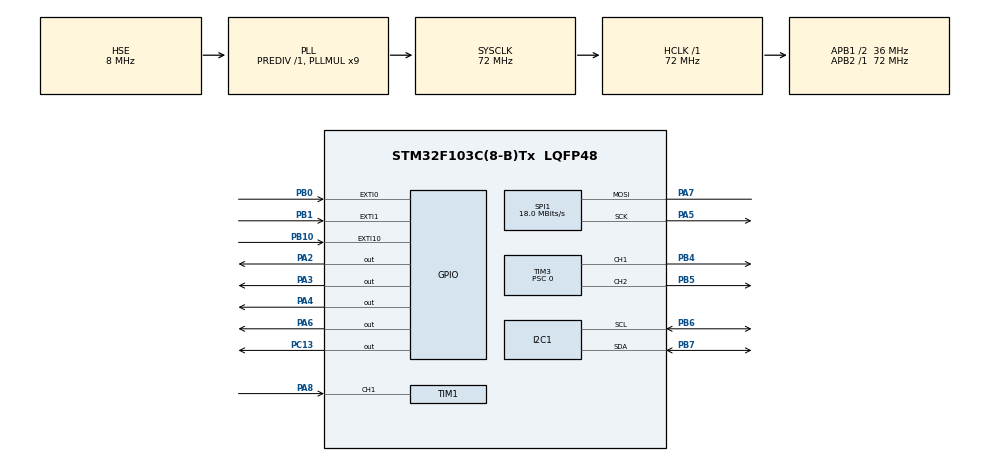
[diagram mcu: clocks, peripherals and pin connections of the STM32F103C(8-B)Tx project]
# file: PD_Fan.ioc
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Mcu.Family=STM32F1
Mcu.Name=STM32F103C(8-B)Tx
Mcu.Package=LQFP48
NVIC.EXTI0_IRQn=true\:2\:0\:true\:false\:true\:true\:true\:true
NVIC.EXTI15_10_IRQn=true\:2\:0\:true\:false\:true\:true\:true\:true
NVIC.EXTI1_IRQn=true\:2\:0\:true\:false\:true\:true\:true\:true
NVIC.PriorityGroup=NVIC_PRIORITYGROUP_4
NVIC.SPI1_IRQn=true\:2\:0\:true\:false\:true\:true\:true\:true
NVIC.TIM1_CC_IRQn=true\:2\:0\:true\:false\:true\:true\:true\:true
NVIC.TIM1_UP_IRQn=true\:4\:0\:true\:false\:true\:true\:true\:true
NVIC.TIM2_IRQn=true\:2\:0\:true\:false\:true\:true\:true\:true
NVIC.TIM4_IRQn=true\:6\:0\:true\:false\:true\:true\:true\:true
PA13.Mode=Serial_Wire
PA13.Signal=SYS_JTMS-SWDIO
PA14.Mode=Serial_Wire
PA14.Signal=SYS_JTCK-SWCLK
PA2.Signal=GPIO_Output
PA3.Signal=GPIO_Output
PA4.Signal=GPIO_Output
PA5.Mode=Simplex_Bidirectional_Master
PA5.Signal=SPI1_SCK
PA6.Signal=GPIO_Output
PA7.Mode=Simplex_Bidirectional_Master
PA7.Signal=SPI1_MOSI
PA8.GPIO_PuPd=GPIO_PULLUP
PA8.Signal=S_TIM1_CH1
PB0.GPIO_ModeDefaultEXTI=GPIO_MODE_IT_FALLING
PB0.GPIO_PuPd=GPIO_PULLUP
PB0.Signal=GPXTI0
PB1.GPIO_ModeDefaultEXTI=GPIO_MODE_IT_FALLING
PB1.GPIO_PuPd=GPIO_PULLUP
PB1.Signal=GPXTI1
PB10.GPIO_ModeDefaultEXTI=GPIO_MODE_IT_FALLING
PB10.GPIO_PuPd=GPIO_PULLUP
PB10.Signal=GPXTI10
PB4.Signal=S_TIM3_CH1
PB5.Signal=S_TIM3_CH2
PB6.Mode=I2C
PB6.Signal=I2C1_SCL
PB7.Mode=I2C
PB7.Signal=I2C1_SDA
PC13-TAMPER-RTC.Signal=GPIO_Output
PD0-OSC_IN.Mode=HSE-External-Oscillator
PD0-OSC_IN.Signal=RCC_OSC_IN
PD1-OSC_OUT.Mode=HSE-External-Oscillator
PD1-OSC_OUT.Signal=RCC_OSC_OUT
ProjectManager.HeapSize=0x200
ProjectManager.StackSize=0x400
ProjectManager.TargetToolchain=MDK-ARM V5.32
RCC.ADCPresc=RCC_ADCPCLK2_DIV6
RCC.AHBFreq_Value=72000000
RCC.APB1CLKDivider=RCC_HCLK_DIV2
RCC.APB1Freq_Value=36000000
RCC.APB1TimFreq_Value=72000000
RCC.APB2Freq_Value=72000000
RCC.APB2TimFreq_Value=72000000
RCC.HCLKFreq_Value=72000000
RCC.PLLMUL=RCC_PLL_MUL9
RCC.PLLSourceVirtual=RCC_PLLSOURCE_HSE
RCC.SYSCLKFreq_VALUE=72000000
RCC.SYSCLKSource=RCC_SYSCLKSOURCE_PLLCLK
RCC.USBFreq_Value=72000000
SH.S_TIM1_CH1.0=TIM1_CH1,Input_Capture1_from_TI1
SH.S_TIM3_CH1.0=TIM3_CH1,PWM Generation1 CH1
SH.S_TIM3_CH2.0=TIM3_CH2,PWM Generation2 CH2
SPI1.BaudRatePrescaler=SPI_BAUDRATEPRESCALER_4
SPI1.CalculateBaudRate=18.0 MBits/s
SPI1.Direction=SPI_DIRECTION_1LINE
SPI1.Mode=SPI_MODE_MASTER
SPI1.VirtualType=VM_MASTER
TIM1.AutoReloadPreload=TIM_AUTORELOAD_PRELOAD_ENABLE
TIM1.Channel-Input_Capture1_from_TI1=TIM_CHANNEL_1
TIM1.Prescaler=720 - 1
TIM2.AutoReloadPreload=TIM_AUTORELOAD_PRELOAD_DISABLE
TIM2.Prescaler=7200 - 1
TIM3.AutoReloadPreload=TIM_AUTORELOAD_PRELOAD_ENABLE
TIM3.Channel-PWM\ Generation1\ CH1=TIM_CHANNEL_1
TIM3.Channel-PWM\ Generation2\ CH2=TIM_CHANNEL_2
TIM3.Period=2880 - 1
TIM3.Prescaler=0
TIM4.AutoReloadPreload=TIM_AUTORELOAD_PRELOAD_ENABLE
TIM4.Period=1000 - 1
TIM4.Prescaler=7200 - 1
VP_RTC_VS_RTC_Activate.Mode=RTC_Enabled
VP_TIM1_VS_ClockSourceINT.Mode=Internal
VP_TIM2_VS_ClockSourceINT.Mode=Internal
VP_TIM3_VS_ClockSourceINT.Mode=Internal
VP_TIM4_VS_ClockSourceINT.Mode=Internal
board=custom

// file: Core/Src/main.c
/* USER CODE BEGIN Header */
/**
 ******************************************************************************
 * @file           : main.c
 * @brief          : Main program body
 ******************************************************************************
 * @attention
 *
 * Copyright (c) 2024 STMicroelectronics.
 * All rights reserved.
 *
 * This software is licensed under terms that can be found in the LICENSE file
 * in the root directory of this software component.
 * If no LICENSE file comes with this software, it is provided AS-IS.
 *
 ******************************************************************************
 */
/* USER CODE END Header */
#include "main.h"
#include "i2c.h"
#include "rtc.h"
#include "spi.h"
#include "tim.h"
#include "gpio.h"

/* USER CODE BEGIN Includes */
#include "lcd.h"
#include "lcd_init.h"
#include "function.h"
#include "ina219.h"
/* USER CODE END Includes */

void SystemClock_Config(void);

/* USER CODE BEGIN 0 */
extern uint8_t mode_flag;
Back_Color Color = {WHITE, WHITE, WHITE, WHITE};
fan_info info = {0, 2000, 0, 0, 0.04, 0, 0, 0};
uint8_t output_flag = 0;
uint8_t reload_flag = 0;
INA219_t ina219;
/* USER CODE END 0 */

int main(void)
{

  /* MCU Configuration--------------------------------------------------------*/

  /* Reset of all peripherals, Initializes the Flash interface and the Systick. */
  HAL_Init();

  /* Configure the system clock */
  SystemClock_Config();

  /* Initialize all configured peripherals */
  MX_GPIO_Init();
  MX_SPI1_Init();
  MX_TIM1_Init();
  MX_TIM3_Init();
  MX_I2C1_Init();
  MX_RTC_Init();
  MX_TIM2_Init();
  MX_TIM4_Init();
  /* USER CODE BEGIN 2 */
    Load_Para(&info); //在定时器中断�??启之前加载参�??
    INA219_Init(&ina219, &hi2c1, INA219_ADDRESS);
    HAL_TIM_IC_Start_IT(&htim1, TIM_CHANNEL_1);
    system_init();
    load_ui(Color);
  /* USER CODE END 2 */

  /* Infinite loop */
  /* USER CODE BEGIN WHILE */
    while (1)
    {
        if(reload_flag)
        {
            reload_word(Color);
            reload_flag = 0;
        }
        if (output_flag)
        {
            if (mode_flag)
            {
                float output = get_pid();
                pwm_out(output);
                show_duty(output);
            }
            else
            {
                pwm_out((float)info.tar_duty / 100);
                show_duty((float)info.tar_duty / 100);
            }
        }
        else
        {
            pwm_out(0);
            show_duty(0);
        }
        //get_rtc_seconds(&info);
        check_current(info, &Color);
        refresh_info(info, Color);
    /* USER CODE END WHILE */

    /* USER CODE BEGIN 3 */
        HAL_Delay(1);
    }
  /* USER CODE END 3 */
}

void SystemClock_Config(void)
{
  RCC_OscInitTypeDef RCC_OscInitStruct = {0};
  RCC_ClkInitTypeDef RCC_ClkInitStruct = {0};
  RCC_PeriphCLKInitTypeDef PeriphClkInit = {0};

  /** Initializes the RCC Oscillators according to the specified parameters
  * in the RCC_OscInitTypeDef structure.
  */
  RCC_OscInitStruct.OscillatorType = RCC_OSCILLATORTYPE_LSI|RCC_OSCILLATORTYPE_HSE;
  RCC_OscInitStruct.HSEState = RCC_HSE_ON;
  RCC_OscInitStruct.HSEPredivValue = RCC_HSE_PREDIV_DIV1;
  RCC_OscInitStruct.HSIState = RCC_HSI_ON;
  RCC_OscInitStruct.LSIState = RCC_LSI_ON;
  RCC_OscInitStruct.PLL.PLLState = RCC_PLL_ON;
  RCC_OscInitStruct.PLL.PLLSource = RCC_PLLSOURCE_HSE;
  RCC_OscInitStruct.PLL.PLLMUL = RCC_PLL_MUL9;
  if (HAL_RCC_OscConfig(&RCC_OscInitStruct) != HAL_OK)
  {
    Error_Handler();
  }

  /** Initializes the CPU, AHB and APB buses clocks
  */
  RCC_ClkInitStruct.ClockType = RCC_CLOCKTYPE_HCLK|RCC_CLOCKTYPE_SYSCLK
                              |RCC_CLOCKTYPE_PCLK1|RCC_CLOCKTYPE_PCLK2;
  RCC_ClkInitStruct.SYSCLKSource = RCC_SYSCLKSOURCE_PLLCLK;
  RCC_ClkInitStruct.AHBCLKDivider = RCC_SYSCLK_DIV1;
  RCC_ClkInitStruct.APB1CLKDivider = RCC_HCLK_DIV2;
  RCC_ClkInitStruct.APB2CLKDivider = RCC_HCLK_DIV1;

  if (HAL_RCC_ClockConfig(&RCC_ClkInitStruct, FLASH_LATENCY_2) != HAL_OK)
  {
    Error_Handler();
  }
  PeriphClkInit.PeriphClockSelection = RCC_PERIPHCLK_RTC;
  PeriphClkInit.RTCClockSelection = RCC_RTCCLKSOURCE_LSI;
  if (HAL_RCCEx_PeriphCLKConfig(&PeriphClkInit) != HAL_OK)
  {
    Error_Handler();
  }
}

/* USER CODE BEGIN 4 */
void Toggle_Output(void)
{
    if(HAL_GPIO_ReadPin(GPIOB, GPIO_PIN_0) == GPIO_PIN_RESET)//长按
        output_flag = !output_flag;
    else    //短按
    {
      mode_flag = !mode_flag;
      reload_flag = 1;
    }
}

void Value_plus(void)
{
    static uint16_t delta_value = 1;

    if(HAL_GPIO_ReadPin(GPIOB, GPIO_PIN_10) == GPIO_PIN_SET)
    {
      Timer_Event_Stop();
      delta_value = 1;
      return;
    }

    if (mode_flag)
    {
        info.tar_rpm += delta_value;
        if (info.tar_rpm > 65534)
            info.tar_rpm = 65534;
    }
    else
    {
        info.tar_duty += 1;
        if (info.tar_duty > 100)
            info.tar_duty = 100;
    }
    delta_value++;
}

void Value_sub(void)
{
    static uint16_t delta_value = 1;

    if(HAL_GPIO_ReadPin(GPIOB, GPIO_PIN_1) == GPIO_PIN_SET)
    {
      Timer_Event_Stop();
      delta_value = 1;
      return;
    }

    if (mode_flag)
    {
        info.tar_rpm -= delta_value;
        if (info.tar_rpm == 65535)
            info.tar_rpm = 0;
    }
    else
    {
        info.tar_duty -= 1;
        if (info.tar_duty < 0)
            info.tar_duty = 0;
    }
    delta_value++;
}

void HAL_GPIO_EXTI_Callback(uint16_t GPIO_Pin)
{
    switch (GPIO_Pin)
    {
    case GPIO_PIN_0:
        if (HAL_GPIO_ReadPin(GPIOB, GPIO_PIN_0) == GPIO_PIN_RESET)
        {
            Timer_Event(longPressThreshold, 1, Toggle_Output);
        }
        break;
    case GPIO_PIN_10:
        if (HAL_GPIO_ReadPin(GPIOB, GPIO_PIN_10) == GPIO_PIN_RESET)
        {
            Timer_Event(100, 0, Value_plus);
        }
        break;
    case GPIO_PIN_1:
        if (HAL_GPIO_ReadPin(GPIOB, GPIO_PIN_1) == GPIO_PIN_RESET)
        {
            Timer_Event(100, 0, Value_sub);
        }

        break;
    default:
        break;
    }
}

/* USER CODE END 4 */

void Error_Handler(void)
{
    __disable_irq();
    while (1)
    {
    }
}
